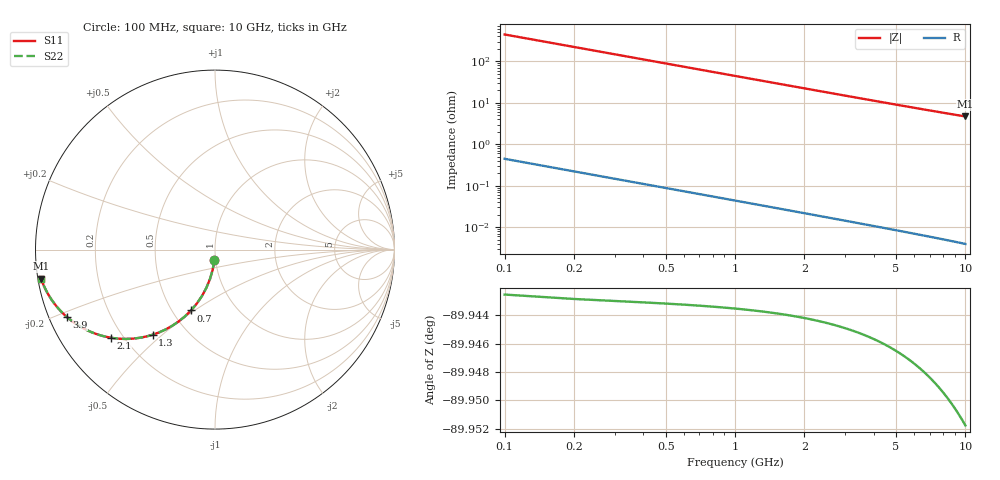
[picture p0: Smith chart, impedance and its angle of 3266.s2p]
# Hz S RI R 50.00
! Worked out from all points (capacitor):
!   100 points, 100 MHz to 10 GHz, reference 50 ohm
!   read as one part in shunt: C = 3.57 pF near 100 MHz
!   lowest |Z| = 4.7 ohm at 10 GHz (marker M1)
!   S11 on the Smith chart (normalised r, x): 100 MHz: 0.99, -0.11; 700 MHz: 0.62, -0.48; 1.3 GHz: 0.32, -0.47; 2.1 GHz: 0.15, -0.36; 3.9 GHz: 0.05, -0.22; 10 GHz: 0.01, -0.08
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1e8  -0.00317 -0.0558  0.9968 -0.056  0.9968 -0.056  -0.00317 -0.0558
2e8  -0.0125 -0.1106  0.9874 -0.111  0.9874 -0.111  -0.0125 -0.1106
3e8  -0.0277 -0.1633  0.9723 -0.1639  0.9723 -0.1639  -0.0277 -0.1633
4e8  -0.0481 -0.2131  0.9519 -0.2139  0.9519 -0.2139  -0.0481 -0.2131
5e8  -0.0731 -0.2593  0.9268 -0.2603  0.9268 -0.2603  -0.0731 -0.2593
6e8  -0.1019 -0.3015  0.898 -0.3027  0.898 -0.3027  -0.1019 -0.3015
7e8  -0.1337 -0.3392  0.8662 -0.3406  0.8662 -0.3406  -0.1337 -0.3392
8e8  -0.1677 -0.3724  0.8322 -0.374  0.8322 -0.374  -0.1677 -0.3724
1e9  -0.2393 -0.4252  0.7606 -0.4272  0.7606 -0.4272  -0.2393 -0.4252
1.3e9  -0.3469 -0.4742  0.653 -0.4768  0.653 -0.4768  -0.3469 -0.4742
1.5e9  -0.4141 -0.4906  0.5859 -0.4936  0.5859 -0.4936  -0.4141 -0.4906
1.8e9  -0.5042 -0.4977  0.4958 -0.5013  0.4958 -0.5013  -0.5042 -0.4977
2.1e9  -0.5803 -0.4909  0.4196 -0.4951  0.4196 -0.4951  -0.5803 -0.4909
2.4e9  -0.6435 -0.476  0.3565 -0.4809  0.3565 -0.4809  -0.6435 -0.476
2.7e9  -0.6954 -0.457  0.3046 -0.4625  0.3046 -0.4625  -0.6954 -0.457
3.4e9  -0.7833 -0.408  0.2166 -0.4149  0.2166 -0.4149  -0.7833 -0.408
3.9e9  -0.8262 -0.3744  0.1737 -0.3824  0.1737 -0.3824  -0.8262 -0.3744
4.5e9  -0.8635 -0.3382  0.1364 -0.3474  0.1364 -0.3474  -0.8635 -0.3382
5.1e9  -0.8904 -0.3066  0.1095 -0.3171  0.1095 -0.3171  -0.8904 -0.3066
6.7e9  -0.9335 -0.2416  0.0664 -0.2555  0.0664 -0.2555  -0.9335 -0.2416
8.4e9  -0.9567 -0.1939  0.043 -0.2115  0.043 -0.2115  -0.9567 -0.1939
1e10  -0.9692 -0.1612  0.0305 -0.1824  0.0305 -0.1824  -0.9692 -0.1612
